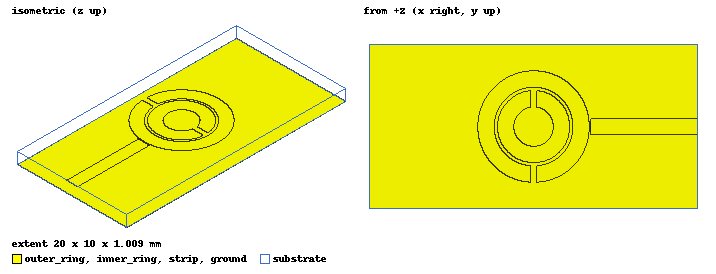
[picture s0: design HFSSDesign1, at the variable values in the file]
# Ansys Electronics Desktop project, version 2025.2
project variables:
  $copperthickness = 0.009mm
  $r2 = 2.4mm
  $r1 = 1.2mm
  $gr = 0.2mm
  $w = 1mm
  $ringwidth = $r2-$gr-$r1
  $gs = 0.4mm
  $x_arc = sqrt(($r1+$ringwidth)^2- ($gs/2)^2) meter
  $gc = 0.05mm
  $substratethickness = 1mm
  $boardwidth = 10mm
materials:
  vacuum: permittivity=1
  copper: permeability=0.999991 conductivity=58000000

design HFSSDesign1 (HFSS, HFSS Terminal Network, model units mm)
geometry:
  substrate [vacuum] = box(corner=(-10mm, -$boardwidth/2, 0mm), size=(20mm, $boardwidth, -$substratethickness))
  outer_ring [copper] = cylinder(axis=Z, base_centre=(0mm, 0mm, 0mm), radius=$r2+$ringwidth, height=$copperthickness)
  outer_ring_cutout = cylinder(axis=Z, base_centre=(0mm, 0mm, 0mm), radius=$r2, height=$copperthickness)
  outer_ring.subtract(outer_ring_cutout)
  inner_ring [copper] = cylinder(axis=Z, base_centre=(0mm, 0mm, 0mm), radius=$r1+$ringwidth, height=$copperthickness)
  inner_ring_cutout = cylinder(axis=Z, base_centre=(0mm, 0mm, 0mm), radius=$r1, height=$copperthickness)
  inner_ring.subtract(inner_ring_cutout)
  inner_ring_gap = box(corner=(-$gs/2, $r1-0.25mm, 0mm), size=($gs, $ringwidth+0.5mm, $copperthickness))
  outer_ring_gap = box(corner=(-$gs/2, -$r2+0.25mm, 0mm), size=($gs, -$ringwidth-0.5mm, $copperthickness))
  inner_ring.subtract(inner_ring_gap)
  outer_ring.subtract(outer_ring_gap)
  strip [copper] = box(corner=($r2+$ringwidth+$gc, -$w/2, 0mm), size=(10mm-($r2+$ringwidth+$gc), $w, $copperthickness))
  ground = rectangle(corner=(-10mm, -$boardwidth/2, -$substratethickness), x_size=20mm, y_size=$boardwidth)
